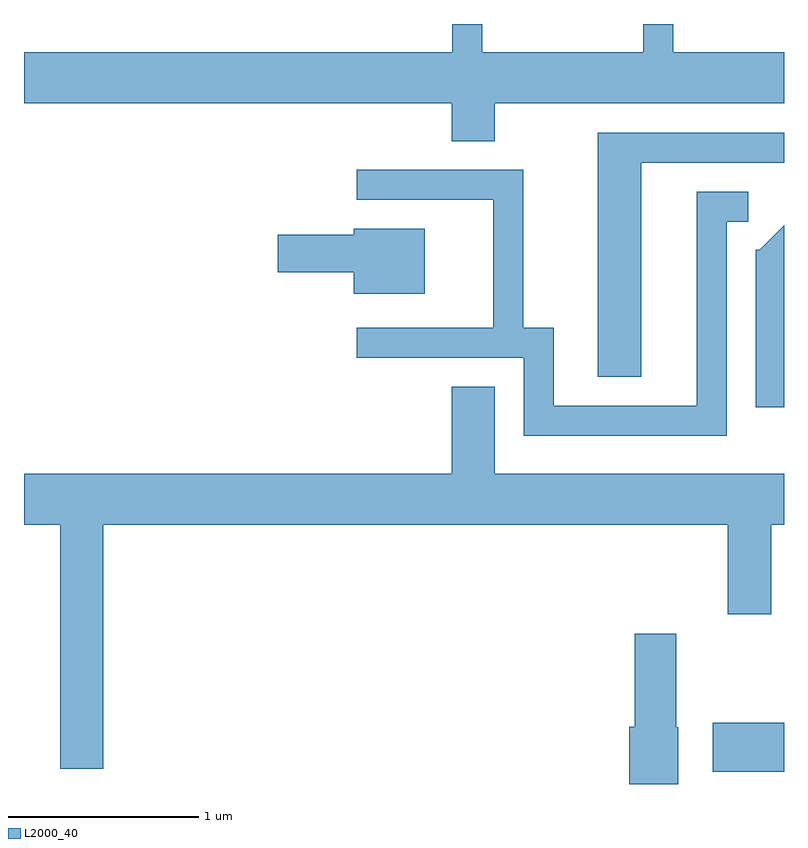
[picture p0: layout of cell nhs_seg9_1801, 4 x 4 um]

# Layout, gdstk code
import gdstk
lib = gdstk.Library(unit=1e-6, precision=1e-09)
def R(c, l, rs):  # rectangles x0, y0, x1, y1
    for r in rs: c.add(gdstk.rectangle(r[:2], r[2:], *l))
def P(c, l, *ps):  # polygons
    for p in ps: c.add(gdstk.Polygon(p, *l))
L2000_40 = (2000, 40)

nhs_seg9_1801 = lib.new_cell('nhs_seg9_1801')
R(nhs_seg9_1801, L2000_40, [(241.236,2010.496,241.611,2010.754)])
P(nhs_seg9_1801, L2000_40, [(240.089,2014.016),(241.611,2014.016),(241.611,2014.284),(241.029,2014.284),(241.029,2014.432),(240.871,2014.432),(240.871,2014.284),(240.024,2014.284),(240.024,2014.432),(239.866,2014.432),(239.866,2014.284),(237.611,2014.284),(237.611,2014.016),(239.861,2014.016),(239.861,2013.816),(240.089,2013.816)],
  [(240.859,2013.701),(241.611,2013.701),(241.611,2013.859),(240.631,2013.859),(240.631,2012.576),(240.859,2012.576)],
  [(241.309,2013.391),(241.423,2013.391),(241.423,2013.549),(241.151,2013.549),(241.151,2012.424),(240.399,2012.424),(240.399,2012.834),(240.239,2012.834),(240.239,2013.664),(239.363,2013.664),(239.363,2013.506),(240.081,2013.506),(240.081,2012.834),(239.363,2012.834),(239.363,2012.676),(240.241,2012.676),(240.241,2012.266),(241.309,2012.266)],
  [(241.611,2013.372),(241.484,2013.244),(241.461,2013.244),(241.461,2012.416),(241.611,2012.416)],
  [(239.719,2013.354),(239.346,2013.354),(239.346,2013.324),(238.946,2013.324),(238.946,2013.126),(239.346,2013.126),(239.346,2013.011),(239.719,2013.011)],
  [(238.029,2011.796),(241.316,2011.796),(241.316,2011.326),(241.544,2011.326),(241.544,2011.796),(241.611,2011.796),(241.611,2012.064),(240.089,2012.064),(240.089,2012.524),(239.861,2012.524),(239.861,2012.064),(237.611,2012.064),(237.611,2011.796),(237.801,2011.796),(237.801,2010.511),(238.029,2010.511)],
  [(241.054,2010.73),(241.044,2010.73),(241.044,2011.224),(240.826,2011.224),(240.826,2010.734),(240.796,2010.734),(240.796,2010.432),(241.054,2010.432)])

lib.write_gds('nhs_seg9_1801.gds')
